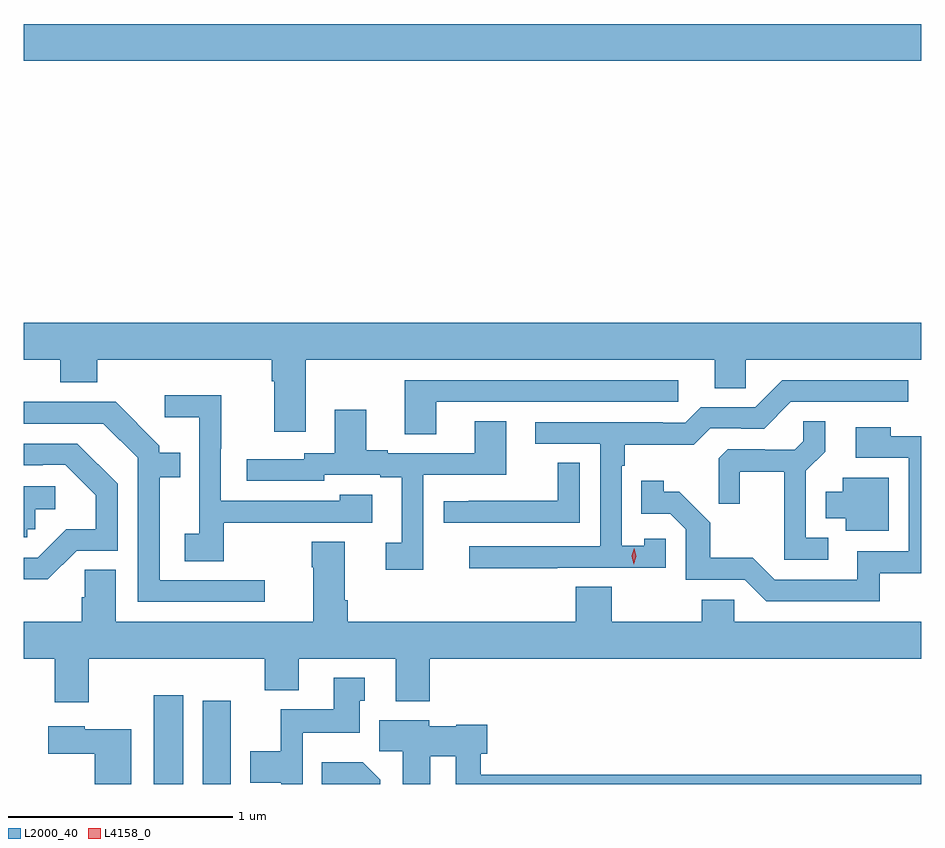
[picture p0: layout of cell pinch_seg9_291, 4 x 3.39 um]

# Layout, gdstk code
import gdstk
lib = gdstk.Library(unit=1e-6, precision=1e-09)
def R(c, l, rs):  # rectangles x0, y0, x1, y1
    for r in rs: c.add(gdstk.rectangle(r[:2], r[2:], *l))
def P(c, l, *ps):  # polygons
    for p in ps: c.add(gdstk.Polygon(p, *l))
L2000_40 = (2000, 40)
L4158_0 = (4158, 0)

pinch_seg9_291 = lib.new_cell('pinch_seg9_291')
R(pinch_seg9_291, L2000_40, [(502.802,1202.522,502.933,1202.917), (503.021,1202.522,503.146,1202.893), (502.222,1205.744,506.222,1205.908)])
P(pinch_seg9_291, L2000_40, [(503.479,1204.412),(505.301,1204.412),(505.301,1204.285),(505.44,1204.285),(505.44,1204.412),(506.222,1204.412),(506.222,1204.576),(502.222,1204.576),(502.222,1204.412),(502.385,1204.412),(502.385,1204.313),(502.55,1204.313),(502.55,1204.412),(503.327,1204.412),(503.327,1204.316),(503.339,1204.316),(503.339,1204.092),(503.479,1204.092)],
  [(504.061,1204.224),(505.138,1204.224),(505.138,1204.32),(503.921,1204.32),(503.921,1204.081),(504.061,1204.081)],
  [(504.599,1203.486),(505.083,1203.486),(505.083,1203.615),(504.987,1203.615),(504.987,1203.583),(504.888,1203.583),(504.888,1203.941),(504.901,1203.941),(504.901,1204.034),(505.208,1204.034),(505.281,1204.107),(505.42,1204.107),(505.42,1204.104),(505.521,1204.104),(505.641,1204.224),(506.164,1204.224),(506.164,1204.32),(505.602,1204.32),(505.482,1204.2),(505.239,1204.2),(505.17,1204.131),(505.07,1204.131),(505.07,1204.134),(504.501,1204.134),(504.501,1204.038),(504.792,1204.038),(504.792,1203.582),(504.207,1203.582),(504.207,1203.484),(504.599,1203.484)],
  [(503.113,1203.685),(503.417,1203.685),(503.417,1203.687),(503.776,1203.687),(503.776,1203.811),(503.631,1203.811),(503.631,1203.783),(503.1,1203.783),(503.1,1204.016),(503.103,1204.016),(503.103,1204.255),(502.851,1204.255),(502.851,1204.157),(503.004,1204.157),(503.004,1203.636),(502.941,1203.636),(502.941,1203.514),(503.113,1203.514)],
  [(503.296,1203.429),(502.828,1203.429),(502.828,1203.888),(502.919,1203.888),(502.919,1203.997),(502.827,1203.997),(502.827,1204.029),(502.632,1204.224),(502.301,1204.224),(502.301,1204.226),(502.222,1204.226),(502.222,1204.128),(502.578,1204.128),(502.731,1203.975),(502.731,1203.333),(503.296,1203.333)],
  [(504.003,1203.9),(504.373,1203.9),(504.373,1204.139),(504.233,1204.139),(504.233,1203.996),(503.845,1203.996),(503.845,1204.009),(503.749,1204.009),(503.749,1204.189),(503.609,1204.189),(503.609,1203.996),(503.472,1203.996),(503.472,1203.969),(503.217,1203.969),(503.217,1203.873),(503.562,1203.873),(503.562,1203.9),(503.81,1203.9),(503.81,1203.888),(503.906,1203.888),(503.906,1203.597),(503.835,1203.597),(503.835,1203.477),(504.003,1203.477)],
  [(505.807,1203.618),(505.707,1203.618),(505.707,1203.917),(505.793,1204.003),(505.793,1204.139),(505.695,1204.139),(505.695,1204.048),(505.658,1204.011),(505.524,1204.011),(505.524,1204.014),(505.359,1204.014),(505.318,1203.973),(505.318,1203.771),(505.412,1203.771),(505.412,1203.914),(505.61,1203.914),(505.61,1203.522),(505.807,1203.522)],
  [(506.036,1203.462),(506.222,1203.462),(506.222,1204.071),(506.085,1204.071),(506.085,1204.111),(505.929,1204.111),(505.929,1203.975),(506.166,1203.975),(506.166,1203.558),(505.937,1203.558),(505.937,1203.432),(505.569,1203.432),(505.471,1203.531),(505.282,1203.531),(505.282,1203.686),(505.144,1203.824),(505.074,1203.824),(505.074,1203.874),(504.973,1203.874),(504.973,1203.726),(505.104,1203.726),(505.173,1203.657),(505.173,1203.432),(505.434,1203.432),(505.53,1203.336),(506.036,1203.336)],
  [(502.458,1203.561),(502.641,1203.561),(502.641,1203.859),(502.462,1204.038),(502.222,1204.038),(502.222,1203.942),(502.307,1203.942),(502.307,1203.945),(502.407,1203.945),(502.544,1203.808),(502.544,1203.658),(502.411,1203.658),(502.284,1203.531),(502.222,1203.531),(502.222,1203.434),(502.33,1203.434)],
  [(504.699,1203.953),(504.601,1203.953),(504.601,1203.783),(504.205,1203.783),(504.205,1203.782),(504.093,1203.782),(504.093,1203.687),(504.699,1203.687)],
  [(506.077,1203.886),(505.871,1203.886),(505.871,1203.823),(505.796,1203.823),(505.796,1203.707),(505.886,1203.707),(505.886,1203.65),(506.077,1203.65)],
  [(502.239,1203.657),(502.275,1203.657),(502.275,1203.746),(502.363,1203.746),(502.363,1203.849),(502.222,1203.849),(502.222,1203.621),(502.239,1203.621)],
  [(503.506,1203.601),(503.506,1203.488),(503.513,1203.488),(503.513,1203.244),(502.633,1203.244),(502.633,1203.476),(502.495,1203.476),(502.495,1203.354),(502.481,1203.354),(502.481,1203.244),(502.222,1203.244),(502.222,1203.08),(502.361,1203.08),(502.361,1202.886),(502.513,1202.886),(502.513,1203.08),(503.297,1203.08),(503.297,1202.939),(503.449,1202.939),(503.449,1203.08),(503.879,1203.08),(503.879,1202.891),(504.032,1202.891),(504.032,1203.08),(506.222,1203.08),(506.222,1203.244),(505.389,1203.244),(505.389,1203.342),(505.243,1203.342),(505.243,1203.244),(504.843,1203.244),(504.843,1203.401),(504.683,1203.401),(504.683,1203.244),(503.666,1203.244),(503.666,1203.34),(503.653,1203.34),(503.653,1203.601)],
  [(503.466,1202.75),(503.719,1202.75),(503.719,1202.892),(503.743,1202.892),(503.743,1202.995),(503.603,1202.995),(503.603,1202.854),(503.368,1202.854),(503.368,1202.668),(503.231,1202.668),(503.231,1202.528),(503.37,1202.528),(503.37,1202.522),(503.466,1202.522)],
  [(504.034,1202.645),(504.147,1202.645),(504.147,1202.522),(506.222,1202.522),(506.222,1202.564),(504.259,1202.564),(504.259,1202.657),(504.287,1202.657),(504.287,1202.787),(504.15,1202.787),(504.15,1202.779),(504.03,1202.779),(504.03,1202.806),(503.807,1202.806),(503.807,1202.668),(503.912,1202.668),(503.912,1202.522),(504.034,1202.522)],
  [(502.702,1202.767),(502.494,1202.767),(502.494,1202.779),(502.332,1202.779),(502.332,1202.657),(502.54,1202.657),(502.54,1202.522),(502.702,1202.522)],
  [(503.812,1202.542),(503.734,1202.62),(503.551,1202.62),(503.551,1202.522),(503.812,1202.522)])
P(pinch_seg9_291, L4158_0, [(504.94,1203.501),(504.94,1203.501),(504.931,1203.538),(504.942,1203.573),(504.943,1203.573),(504.943,1203.573),(504.951,1203.537),(504.94,1203.501)])

lib.write_gds('pinch_seg9_291.gds')
